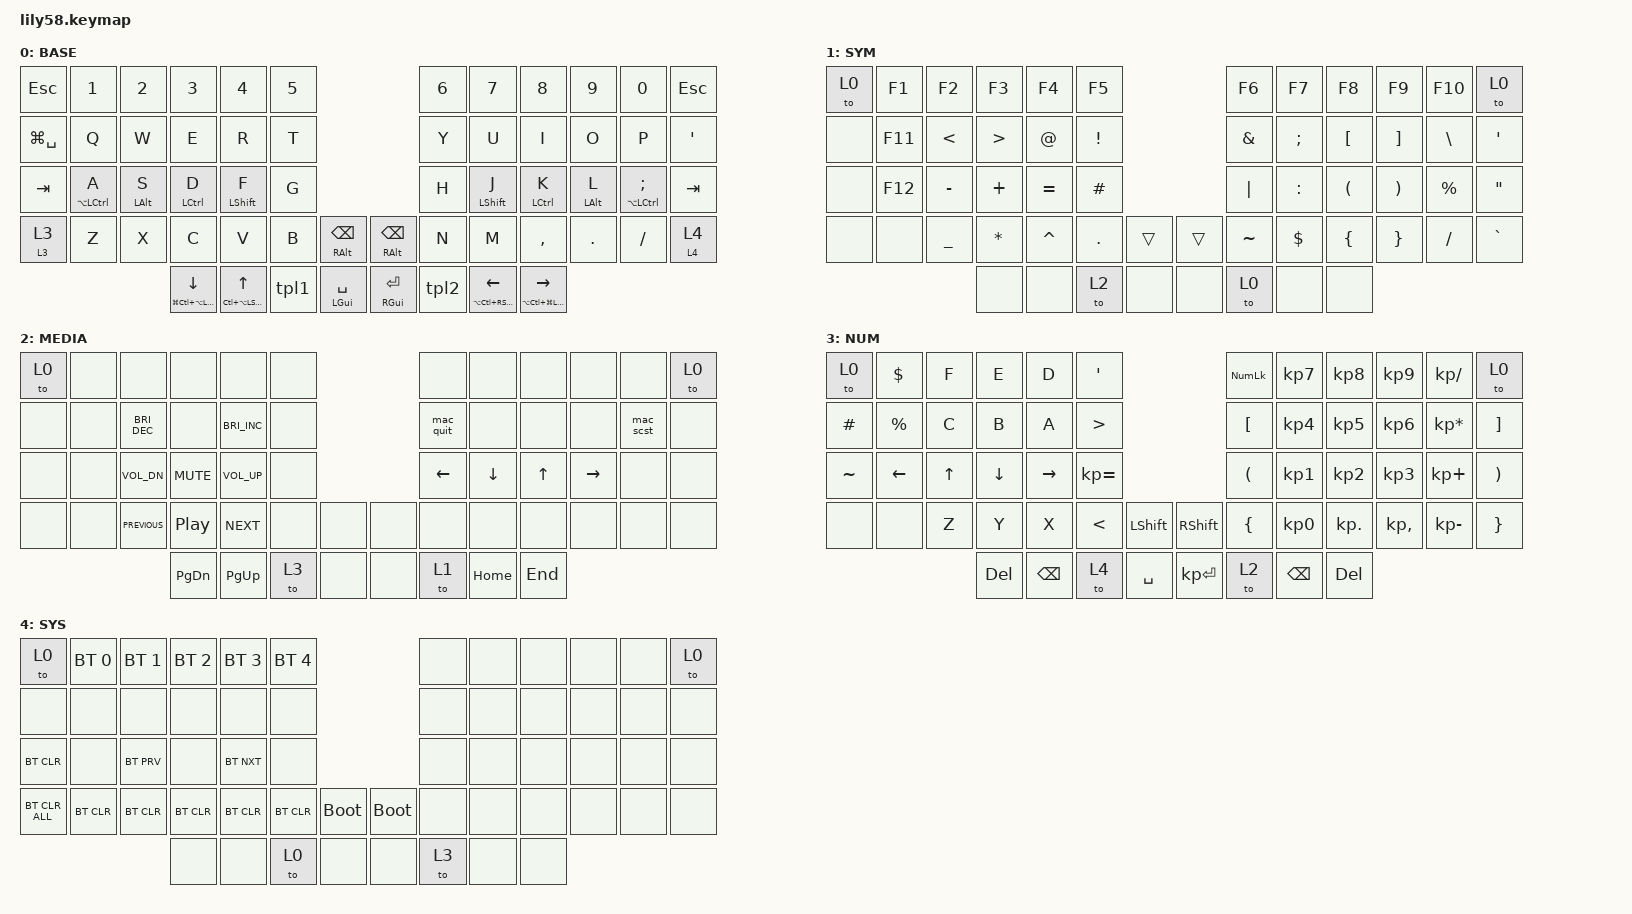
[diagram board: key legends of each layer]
/*
 * Copyright (c) 2020 The ZMK Contributors
 *
 * SPDX-License-Identifier: MIT
 */

#include <behaviors.dtsi>
#include <dt-bindings/zmk/bt.h>
#include <dt-bindings/zmk/keys.h>
#include <dt-bindings/zmk/keys.h>

&mt { flavor = "tap-preferred"; };

/ {
    behaviors {
        hm: homerow_mod {
            compatible = "zmk,behavior-hold-tap";
            label = "Homemod";
            bindings = <&kp>, <&kp>;

            #binding-cells = <2>;
            tapping-term-ms = <200>;
            flavor = "tap-preferred";
        };

        mo_to: move_to_toggle_layer {
            compatible = "zmk,behavior-hold-tap";
            label = "mo_to";
            bindings = <&mo>, <&tog>;

            #binding-cells = <2>;
            tapping-term-ms = <200>;
            flavor = "hold-preferred";
        };

        kp_kt: key_press_toggle {
            compatible = "zmk,behavior-hold-tap";
            label = "Key-press-toggle";
            bindings = <&kp>, <&kt>;

            #binding-cells = <2>;
            tapping-term-ms = <200>;
        };

        tpl1: tpl1 {
            compatible = "zmk,behavior-tap-dance";
            label = "tap_dance_layer_1";
            #binding-cells = <0>;
            bindings = <&mo_to 1 0>, <&to 1>;
        };

        tpl2: tpl2 {
            compatible = "zmk,behavior-tap-dance";
            label = "tap_dance_layer_2";
            #binding-cells = <0>;
            bindings = <&mo_to 2 0>, <&to 2>;
        };
    };

    combos {
        compatible = "zmk,combos";

        CAPS_WORDS {
            bindings = <&caps_word>;
            key-positions = <28 31>;
            layers = <0>;
        };
    };

    macros {
        mac_quit: mac_quit {
            compatible = "zmk,behavior-macro";
            #binding-cells = <0>;
            bindings = <&kp RG(Q)>;
            label = "MacOS Quit App";
        };

        mac_scst: mac_scst {
            compatible = "zmk,behavior-macro";
            #binding-cells = <0>;
            bindings = <&kp RG(RS(NUMBER_4))>;
            label = "MacOS Screenshot";
        };
    };

    keymap {
        compatible = "zmk,keymap";

        BASE {
            bindings = <
&kp ESC        &kp N1                  &kp N2          &kp N3                                 &kp N4                           &kp N5                                                      &kp N6  &kp N7                              &kp N8                                  &kp N9          &kp N0                     &kp ESC
&kp LG(SPACE)  &kp Q                   &kp W           &kp E                                  &kp R                            &kp T                                                       &kp Y   &kp U                               &kp I                                   &kp O           &kp P                      &kp SINGLE_QUOTE
&kp TAB        &hm LA(LEFT_CONTROL) A  &hm LEFT_ALT S  &hm LEFT_CONTROL D                     &hm LEFT_SHIFT F                 &kp G                                                       &kp H   &hm LEFT_SHIFT J                    &hm LEFT_CONTROL K                      &hm LEFT_ALT L  &hm LA(LEFT_CONTROL) SEMI  &kp TAB
&mo_to 3 3     &kp Z                   &kp X           &kp C                                  &kp V                            &kp B   &mt RIGHT_ALT BACKSPACE    &mt RIGHT_ALT BACKSPACE  &kp N   &kp M                               &kp COMMA                               &kp DOT         &kp FSLH                   &mo_to 4 4
                                                       &mt LG(LC(LA(LEFT_SHIFT))) DOWN_ARROW  &mt LC(LA(LEFT_SHIFT)) UP_ARROW  &tpl1   &mt LEFT_GUI SPACE         &mt RIGHT_GUI ENTER      &tpl2   &mt LA(LC(RIGHT_SHIFT)) LEFT_ARROW  &mt LA(LC(LG(LEFT_SHIFT))) RIGHT_ARROW
            >;

            label = "BASE";
        };

        SYMBOL {
            bindings = <
&to 0  &kp F1   &kp F2         &kp F3            &kp F4     &kp F5                      &kp F6     &kp F7      &kp F8                &kp F9                 &kp F10        &to 0
&none  &kp F11  &kp LESS_THAN  &kp GREATER_THAN  &kp AT     &kp EXCL                    &kp AMPS   &kp SEMI    &kp LEFT_BRACKET      &kp RIGHT_BRACKET      &kp BACKSLASH  &kp SINGLE_QUOTE
&none  &kp F12  &kp MINUS      &kp PLUS          &kp EQUAL  &kp HASH                    &kp PIPE   &kp COLON   &kp LEFT_PARENTHESIS  &kp RIGHT_PARENTHESIS  &kp PERCENT    &kp DOUBLE_QUOTES
&none  &none    &kp UNDER      &kp ASTERISK      &kp CARET  &kp DOT   &trans    &trans  &kp TILDE  &kp DOLLAR  &kp LEFT_BRACE        &kp RIGHT_BRACE        &kp SLASH      &kp GRAVE
                               &none             &none      &to 2     &none     &none   &to 0      &none       &none
            >;

            label = "SYM";
        };

        MEDIA {
            bindings = <
&to 0  &none  &none                 &none             &none                 &none                  &none           &none           &none         &none            &none      &to 0
&none  &none  &kp C_BRIGHTNESS_DEC  &none             &kp C_BRIGHTNESS_INC  &none                  &mac_quit       &none           &none         &none            &mac_scst  &none
&none  &none  &kp C_VOL_DN          &kp C_MUTE        &kp C_VOLUME_UP       &none                  &kp LEFT_ARROW  &kp DOWN_ARROW  &kp UP_ARROW  &kp RIGHT_ARROW  &none      &none
&none  &none  &kp C_PREVIOUS        &kp C_PLAY_PAUSE  &kp C_NEXT            &none  &none    &none  &none           &none           &none         &none            &none      &none
                                    &kp PAGE_DOWN     &kp PAGE_UP           &to 3  &none    &none  &to 1           &kp HOME        &kp END
            >;

            label = "MEDIA";
        };

        NUMPAD {
            bindings = <
&to 0      &kp DOLLAR   &kp F         &kp E     &kp D          &kp APOS                                             &kp KP_NUMLOCK        &kp KP_NUMBER_7  &kp KP_NUMBER_8  &kp KP_NUMBER_9  &kp KP_DIVIDE    &to 0
&kp POUND  &kp PERCENT  &kp C         &kp B     &kp A          &kp GREATER_THAN                                     &kp LEFT_BRACKET      &kp KP_NUMBER_4  &kp KP_NUMBER_5  &kp KP_NUMBER_6  &kp KP_MULTIPLY  &kp RIGHT_BRACKET
&kp TILDE  &kp LEFT     &kp UP_ARROW  &kp DOWN  &kp RIGHT      &kp KP_EQUAL                                         &kp LEFT_PARENTHESIS  &kp KP_NUMBER_1  &kp KP_NUMBER_2  &kp KP_NUMBER_3  &kp KP_PLUS      &kp RIGHT_PARENTHESIS
&none      &none        &kp Z         &kp Y     &kp X          &kp LESS_THAN     &kp LEFT_SHIFT    &kp RIGHT_SHIFT  &kp LEFT_BRACE        &kp KP_NUMBER_0  &kp KP_DOT       &kp KP_COMMA     &kp KP_MINUS     &kp RIGHT_BRACE
                                      &kp DEL   &kp BACKSPACE  &to 4             &kp SPACE         &kp KP_ENTER     &to 2                 &kp BACKSPACE    &kp DELETE
            >;

            label = "NUM";
        };

        SYSTEM {
            bindings = <
&to 0           &bt BT_SEL 0  &bt BT_SEL 1  &bt BT_SEL 2  &bt BT_SEL 3  &bt BT_SEL 4                              &none  &none  &none  &none  &none  &to 0
&none           &none         &none         &none         &none         &none                                     &none  &none  &none  &none  &none  &none
&bt BT_CLR      &none         &bt BT_PRV    &none         &bt BT_NXT    &none                                     &none  &none  &none  &none  &none  &none
&bt BT_CLR_ALL  &bt BT_CLR    &bt BT_CLR    &bt BT_CLR    &bt BT_CLR    &bt BT_CLR    &bootloader    &bootloader  &none  &none  &none  &none  &none  &none
                                            &none         &none         &to 0         &none          &none        &to 3  &none  &none
            >;

            label = "SYS";
        };
    };
};
